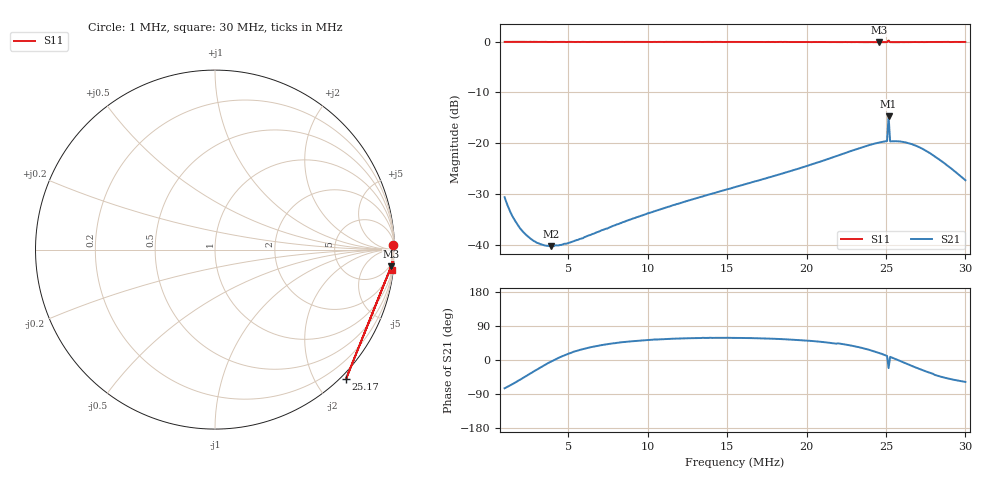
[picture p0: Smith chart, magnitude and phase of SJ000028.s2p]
!File created by NanoVNA-F V2
# Hz S RI R 50
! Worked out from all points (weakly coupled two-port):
!   301 points, 1 MHz to 30 MHz, reference 50 ohm
!   highest |S21| = -14.70 dB at 25.17 MHz (marker M1); lowest = -40.2 dB at 3.9 MHz (marker M2)
!   lowest |S11| = -0.1 dB at 24.59 MHz (marker M3), VSWR 138.36, Z = 159 - j1.04e+03 ohm
!   |S11| at or under -10 dB: nowhere
!   S12 and S22 are empty: the file has one direction only
!   S11 on the Smith chart (normalised r, x): 1 MHz: 22, +74; 25.17 MHz: -0.09, -2.44; 30 MHz: 1, -18
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1000000  0.9925 0.0247  0.00787 -0.0285  0 0  0 0
1193332  0.9931 0.0204  0.00814 -0.0229  0 0  0 0
1483330  0.993 0.0117  0.00852 -0.0173  0 0  0 0
2159992  0.9935 0.00199  0.00916 -0.00994  0 0  0 0
2546656  0.9917 -0.00324  0.0094 -0.00718  0 0  0 0
3029986  0.9915 -0.0046  0.0095 -0.00453  0 0  0 0
3899980  0.9904 -0.00842  0.00972 -0.00082  0 0  0 0
4576642  0.9908 -0.0126  0.00992 0.00158  0 0  0 0
5833300  0.9917 -0.0182  0.0103 0.00538  0 0  0 0
8443282  0.9916 -0.0296  0.0115 0.0123  0 0  0 0
1.06666e7  0.9908 -0.0391  0.0129 0.0179  0 0  0 0
1.54999e7  0.9892 -0.058  0.0195 0.0316  0 0  0 0
2.03332e7  0.9848 -0.0773  0.0397 0.0476  0 0  0 0
2.294318e7  0.9845 -0.0884  0.0683 0.0513  0 0  0 0
2.45865e7  0.9813 -0.0927  0.0967 0.0321  0 0  0 0
2.506983e7  0.9815 -0.0938  0.1034 0.0195  0 0  0 0
2.51665e7  0.7308 -0.7184  0.1715 -0.0672  0 0  0 0
2.526317e7  0.9816 -0.0938  0.1034 0.0153  0 0  0 0
2.622983e7  0.9833 -0.0967  0.101 -0.0151  0 0  0 0
2.729315e7  0.9846 -0.0999  0.079 -0.0397  0 0  0 0
2.854981e7  0.9849 -0.1068  0.0465 -0.0468  0 0  0 0
2.99998e7  0.9847 -0.1113  0.0231 -0.0367  0 0  0 0
